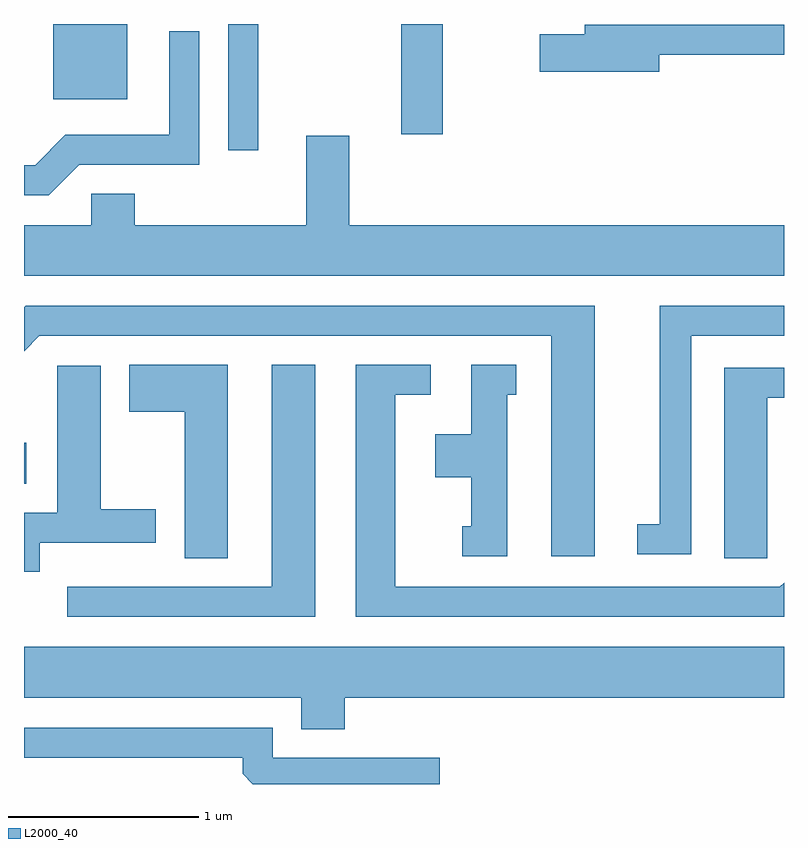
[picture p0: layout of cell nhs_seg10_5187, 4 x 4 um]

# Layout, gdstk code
import gdstk
lib = gdstk.Library(unit=1e-6, precision=1e-09)
def R(c, l, rs):  # rectangles x0, y0, x1, y1
    for r in rs: c.add(gdstk.rectangle(r[:2], r[2:], *l))
def P(c, l, *ps):  # polygons
    for p in ps: c.add(gdstk.Polygon(p, *l))
L2000_40 = (2000, 40)

nhs_seg10_5187 = lib.new_cell('nhs_seg10_5187')
R(nhs_seg10_5187, L2000_40, [(337.611,2166.101,337.624,2166.319), (338.686,2167.858,338.844,2168.522), (339.596,2167.941,339.814,2168.522), (337.766,2168.126,338.154,2168.522)])
P(nhs_seg10_5187, L2000_40, [(340.954,2168.361),(341.611,2168.361),(341.611,2168.519),(340.561,2168.519),(340.561,2168.469),(340.326,2168.469),(340.326,2168.271),(340.954,2168.271)],
  [(337.902,2167.781),(338.534,2167.781),(338.534,2168.483),(338.376,2168.483),(338.376,2167.939),(337.829,2167.939),(337.669,2167.779),(337.611,2167.779),(337.611,2167.621),(337.742,2167.621)],
  [(341.611,2167.464),(339.324,2167.464),(339.324,2167.934),(339.096,2167.934),(339.096,2167.464),(338.194,2167.464),(338.194,2167.629),(337.966,2167.629),(337.966,2167.464),(337.611,2167.464),(337.611,2167.196),(341.611,2167.196)],
  [(340.614,2167.039),(337.619,2167.039),(337.611,2167.031),(337.611,2166.8),(337.692,2166.881),(340.386,2166.881),(340.386,2165.721),(340.614,2165.721)],
  [(341.124,2166.881),(341.611,2166.881),(341.611,2167.039),(340.956,2167.039),(340.956,2165.889),(340.838,2165.889),(340.838,2165.731),(341.124,2165.731)],
  [(338.684,2166.729),(338.166,2166.729),(338.166,2166.481),(338.456,2166.481),(338.456,2165.711),(338.684,2165.711)],
  [(340.154,2166.571),(340.203,2166.571),(340.203,2166.729),(339.966,2166.729),(339.966,2166.364),(339.776,2166.364),(339.776,2166.136),(339.966,2166.136),(339.966,2165.879),(339.918,2165.879),(339.918,2165.721),(340.154,2165.721)],
  [(339.144,2166.729),(338.916,2166.729),(338.916,2165.559),(337.838,2165.559),(337.838,2165.401),(339.144,2165.401)],
  [(341.611,2165.581),(341.589,2165.559),(339.564,2165.559),(339.564,2166.571),(339.753,2166.571),(339.753,2166.729),(339.356,2166.729),(339.356,2165.401),(341.611,2165.401)],
  [(337.694,2165.791),(338.304,2165.791),(338.304,2165.969),(338.014,2165.969),(338.014,2166.724),(337.786,2166.724),(337.786,2165.949),(337.611,2165.949),(337.611,2165.638),(337.694,2165.638)],
  [(341.524,2166.556),(341.611,2166.556),(341.611,2166.714),(341.296,2166.714),(341.296,2165.711),(341.524,2165.711)],
  [(339.299,2164.976),(341.611,2164.976),(341.611,2165.244),(337.611,2165.244),(337.611,2164.976),(339.071,2164.976),(339.071,2164.811),(339.299,2164.811)],
  [(339.798,2164.659),(338.919,2164.659),(338.919,2164.819),(337.611,2164.819),(337.611,2164.661),(338.761,2164.661),(338.761,2164.577),(338.816,2164.522),(339.798,2164.522)])

lib.write_gds('nhs_seg10_5187.gds')
